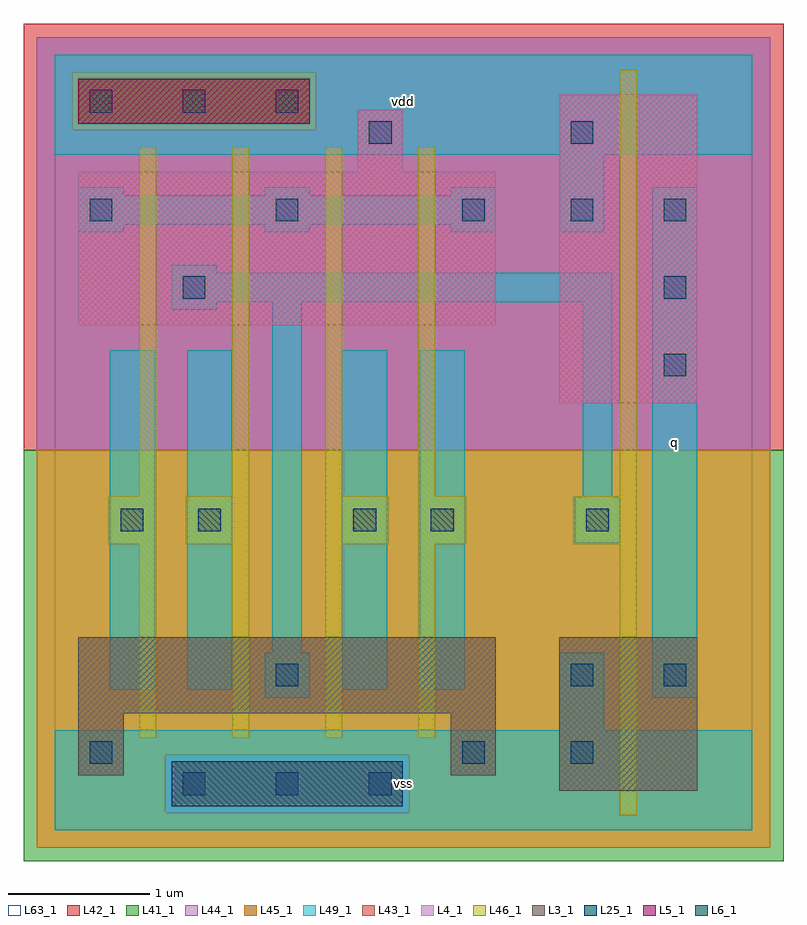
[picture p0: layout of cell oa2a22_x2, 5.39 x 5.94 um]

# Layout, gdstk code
import gdstk
lib = gdstk.Library(unit=1e-6, precision=1e-09)
def R(c, l, rs):  # rectangles x0, y0, x1, y1
    for r in rs: c.add(gdstk.rectangle(r[:2], r[2:], *l))
def A(c, l, x, y, w, h, nx, ny, dx, dy):  # array of equal rectangles
    R(c, l, [(x+i*dx, y+j*dy, x+i*dx+w, y+j*dy+h) for i in range(nx) for j in range(ny)])
L3_1 = (3, 1)
L4_1 = (4, 1)
L5_1 = (5, 1)
L6_1 = (6, 1)
L25_1 = (25, 1)
L41_1 = (41, 1)
L42_1 = (42, 1)
L43_1 = (43, 1)
L44_1 = (44, 1)
L45_1 = (45, 1)
L46_1 = (46, 1)
L49_1 = (49, 1)
L63_1 = (63, 1)

oa2a22_x2 = lib.new_cell('oa2a22_x2')
R(oa2a22_x2, L3_1, [(3.58,0.28,4.56,1.37), (0.17,0.39,0.49,0.83), (2.81,0.39,3.13,0.83), (0.17,0.83,3.13,1.37)])
R(oa2a22_x2, L4_1, [(3.58,3.03,4.56,5.22), (0.17,3.58,3.13,4.67), (2.15,4.67,2.47,5.11)])
R(oa2a22_x2, L5_1, [(0.17,5.01,1.81,5.33)])
R(oa2a22_x2, L6_1, [(0.83,0.17,2.47,0.49)])
A(oa2a22_x2, L25_1, 0.91, 0.25, 0.16, 0.16, 3, 1, 0.66, 0)
A(oa2a22_x2, L25_1, 4.32, 3.22, 0.16, 0.16, 1, 3, 0, 0.55)
A(oa2a22_x2, L25_1, 0.25, 4.32, 0.16, 0.16, 3, 1, 1.32, 0)
A(oa2a22_x2, L25_1, 0.25, 5.09, 0.16, 0.16, 3, 1, 0.66, 0)
R(oa2a22_x2, L25_1, [(0.25,0.47,0.41,0.63), (2.89,0.47,3.05,0.63), (3.66,0.47,3.82,0.63), (1.57,1.02,1.73,1.18), (3.66,1.02,3.82,1.18), (4.32,1.02,4.48,1.18), (0.47,2.12,0.63,2.28), (1.02,2.12,1.18,2.28), (2.12,2.12,2.28,2.28), (2.67,2.12,2.83,2.28), (3.77,2.12,3.93,2.28), (0.91,3.77,1.07,3.93), (3.66,4.32,3.82,4.48), (2.23,4.87,2.39,5.03), (3.66,4.87,3.82,5.03)])
R(oa2a22_x2, L41_1, [(-0.22,-0.22,5.17,2.695)])
R(oa2a22_x2, L42_1, [(-0.22,2.695,5.17,5.72)])
R(oa2a22_x2, L43_1, [(0.83,0.17,2.47,0.49), (3.58,0.28,4.56,1.37), (0.17,0.39,0.49,0.83), (2.81,0.39,3.13,0.83), (0.17,0.83,3.13,1.37), (3.58,3.03,4.56,5.22), (0.17,3.58,3.13,4.67), (2.15,4.67,2.47,5.11), (0.17,5.01,1.81,5.33)])
R(oa2a22_x2, L44_1, [(0.785,0.125,2.515,0.535), (-0.125,2.695,5.075,4.965), (-0.125,4.965,0.125,5.375), (1.855,4.965,5.075,5.375), (-0.125,5.375,5.075,5.625)])
R(oa2a22_x2, L45_1, [(-0.125,-0.125,5.075,0.125), (-0.125,0.125,0.785,0.535), (2.515,0.125,5.075,0.535), (-0.125,0.535,5.075,2.695), (0.125,4.965,1.855,5.375)])
A(oa2a22_x2, L46_1, 0.6, 0.655, 0.12, 1.375, 4, 1, 0.66, 0)
A(oa2a22_x2, L46_1, 0.6, 2.37, 0.12, 2.475, 4, 1, 0.66, 0)
R(oa2a22_x2, L46_1, [(4.01,0.105,4.13,2.03), (0.38,2.03,0.72,2.37), (0.93,2.03,1.38,2.37), (1.92,2.03,2.37,2.37), (2.58,2.03,2.92,2.37), (3.68,2.03,4.13,2.37), (4.01,2.37,4.13,5.395)])
A(oa2a22_x2, L49_1, 0.17, 4.24, 0.32, 0.055, 3, 2, 1.32, 0.265)
R(oa2a22_x2, L49_1, [(0,0,4.95,0.71), (3.58,0.71,3.9,1.26), (1.49,0.94,1.81,1.26), (4.24,0.94,4.56,4.56), (0.39,0.995,0.71,3.405), (0.94,0.995,1.26,3.405), (2.04,0.995,2.36,3.405), (2.59,0.995,2.91,3.405), (1.545,1.26,1.755,3.745), (3.69,2.04,4.01,2.36), (3.745,2.36,3.955,3.745), (0.83,3.69,1.15,3.745), (0.83,3.745,3.955,3.955), (0.83,3.955,1.15,4.01), (3.58,4.24,3.9,4.79), (0.17,4.295,3.13,4.505), (0,4.79,4.95,5.5)])
R(oa2a22_x2, L63_1, [(0,0,4.95,5.5)])
oa2a22_x2.add(gdstk.Label('vss', (2.475,0.33), layer=49, texttype=1))
oa2a22_x2.add(gdstk.Label('vss', (2.475,0.33), layer=49, texttype=1))
oa2a22_x2.add(gdstk.Label('vdd', (2.475,5.17), layer=49, texttype=1))
oa2a22_x2.add(gdstk.Label('vdd', (2.475,5.17), layer=49, texttype=1))
oa2a22_x2.add(gdstk.Label('q', (4.4,2.75), layer=49, texttype=1))
oa2a22_x2.add(gdstk.Label('q', (4.4,2.75), layer=49, texttype=1))

lib.write_gds('oa2a22_x2.gds')
